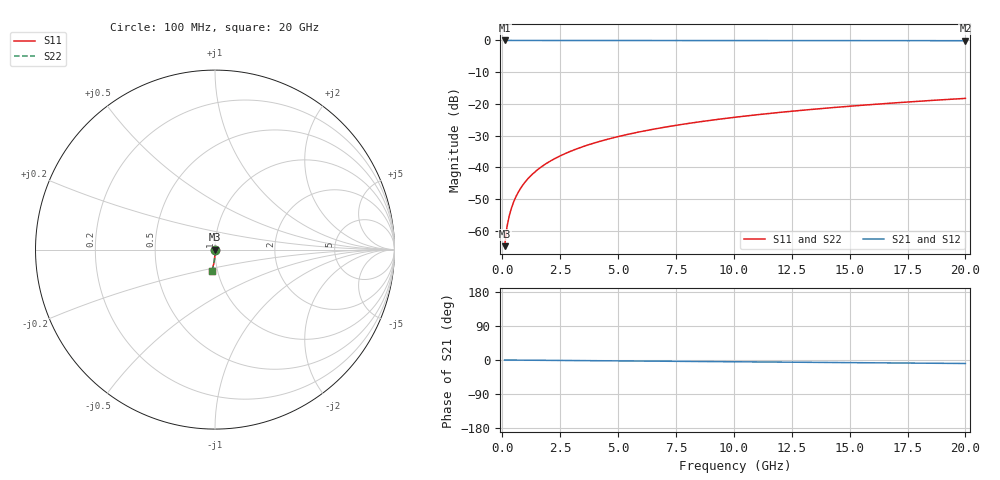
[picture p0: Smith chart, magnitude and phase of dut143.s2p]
! Touchstone file exported from HFSS 2026.1.0
!  File:  C:/ffzhzh/LocalFiles/Ansys_Project_Files/temp_train_TSV_143_1782990431_41620.aedt
!  Generated:  07:08:34 PM Jul  2, 2026
!  Design:  TSV
!  Project:  temp_train_TSV_143_1782990431_41620
! Variables:
!  h_bsmrdl = 2um
!  h_ox = 20um
!  h_rdl = 5um
!  h_sub = 63.43um
!  h_tmrdl = 5um
!  h_tsv = 63.43um
!  h_via = 3um
!  l_bsmrdl = 300um
!  l_sub = 425.86um
!  l_tmrdl = 200um
!  m_sub = 200um
!  pitch = 28.81um
!  r_tsv = 12.93um
!  s_tmrdl = 10um
!  w_bsmrdl = 18um
!  w_sub = 500um
!  w_tmrdl = 12um
!  x_tsv_center1 = 206um
!  x_tsv_center2 = 524um
!  x_tsv_center3 = 736um
!  x_tsv_center4 = 1054um
!  x_tsv_center5 = 1266um
!  x_tsv_center6 = 1584um
# GHz S MA R 50.000000
! Terminal data exported
! Port[1] = TSV1_1_T1
! Port[2] = TSV1_1_T2
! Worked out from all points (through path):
!   200 points, 100 MHz to 20 GHz, reference 50 ohm
!   highest |S21| = 0.00 dB at 100 MHz (marker M1); lowest = -0.1 dB at 20 GHz (marker M2)
!   group delay of S21, straight-line fit = 1.28 ps
!   lowest |S11| = -64.9 dB at 100 MHz (marker M3), VSWR 1.00, Z = 50 - j0.056 ohm
!   |S11| at or under -10 dB: start of sweep to end of sweep
!   |S22| runs from -64.9 to -18.3 dB; largest |S21 - S12| = 2.5e-15
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0.1  0.0005675 -80.8  0.9999 -0.0  0.9999 -0.0  0.0005675 -80.8
! Gamma 0 0 0 0
! Port Impedance 50 0 50 0
0.2  0.001132 -84.5  0.9999 -0.1  0.9999 -0.1  0.001132 -84.5
0.3  0.001707 -85.5  0.9999 -0.1  0.9999 -0.1  0.001707 -85.5
0.4  0.002293 -86.0  0.9998 -0.2  0.9998 -0.2  0.002293 -86.0
0.5  0.002888 -86.3  0.9998 -0.2  0.9998 -0.2  0.002888 -86.3
0.7  0.004095 -86.8  0.9997 -0.3  0.9997 -0.3  0.004095 -86.8
0.8  0.004704 -87.0  0.9997 -0.4  0.9997 -0.4  0.004704 -87.0
1  0.005925 -87.4  0.9997 -0.5  0.9997 -0.5  0.005925 -87.4
1.2  0.007148 -87.8  0.9996 -0.6  0.9996 -0.6  0.007148 -87.8
1.4  0.008372 -88.2  0.9996 -0.7  0.9996 -0.7  0.008372 -88.2
1.7  0.01021 -88.6  0.9996 -0.8  0.9996 -0.8  0.01021 -88.6
2  0.01204 -88.9  0.9995 -0.9  0.9995 -0.9  0.01204 -88.9
2.7  0.01632 -89.6  0.9994 -1.3  0.9994 -1.3  0.01632 -89.6
3.5  0.02121 -90.2  0.9992 -1.6  0.9992 -1.6  0.02121 -90.2
4.2  0.0255 -90.6  0.9991 -2.0  0.9991 -2.0  0.0255 -90.6
5  0.03041 -91.1  0.9989 -2.3  0.9989 -2.3  0.03041 -91.1
6.8  0.04146 -92.1  0.9984 -3.2  0.9984 -3.2  0.04146 -92.1
8.3  0.05068 -92.9  0.9978 -3.9  0.9978 -3.9  0.05068 -92.9
10.1  0.06172 -93.8  0.9971 -4.7  0.9971 -4.7  0.06172 -93.8
13.4  0.0819 -95.4  0.9955 -6.2  0.9955 -6.2  0.0819 -95.4
16.7  0.102 -97.0  0.9935 -7.7  0.9935 -7.7  0.102 -97.0
20  0.1219 -98.5  0.9911 -9.2  0.9911 -9.2  0.1219 -98.5
